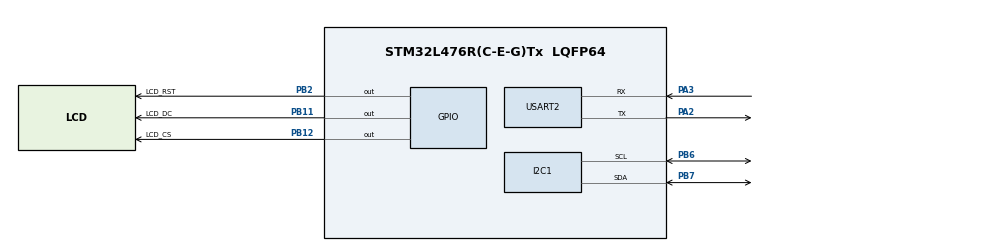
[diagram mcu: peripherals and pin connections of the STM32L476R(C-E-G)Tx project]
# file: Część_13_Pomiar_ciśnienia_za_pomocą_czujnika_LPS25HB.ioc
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I2C1.Timing=0x00100D14
Mcu.Family=STM32L4
Mcu.Name=STM32L476R(C-E-G)Tx
Mcu.Package=LQFP64
NVIC.PriorityGroup=NVIC_PRIORITYGROUP_4
PA2.Mode=Asynchronous
PA2.Signal=USART2_TX
PA3.Mode=Asynchronous
PA3.Signal=USART2_RX
PB11.GPIO_Label=LCD_DC
PB11.Signal=GPIO_Output
PB12.GPIO_Label=LCD_CS
PB12.PinState=GPIO_PIN_SET
PB12.Signal=GPIO_Output
PB2.GPIO_Label=LCD_RST
PB2.Signal=GPIO_Output
PB6.Mode=I2C
PB6.Signal=I2C1_SCL
PB7.Mode=I2C
PB7.Signal=I2C1_SDA
ProjectManager.HeapSize=0x200
ProjectManager.StackSize=0x400
ProjectManager.TargetToolchain=STM32CubeIDE
RCC.HSE_VALUE=8000000
RCC.HSI_VALUE=16000000
RCC.LSE_VALUE=32768
RCC.MSI_VALUE=4000000
RCC.VCOOutputFreq_Value=32000000
USART2.VirtualMode-Asynchronous=VM_ASYNC
board=custom

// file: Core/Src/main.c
/* USER CODE BEGIN Header */
/**
  ******************************************************************************
  * @file           : main.c
  * @brief          : Main program body
  ******************************************************************************
  * @attention
  *
  * Copyright (c) 2026 STMicroelectronics.
  * All rights reserved.
  *
  * This software is licensed under terms that can be found in the LICENSE file
  * in the root directory of this software component.
  * If no LICENSE file comes with this software, it is provided AS-IS.
  *
  ******************************************************************************
  */
/* USER CODE END Header */
#include "main.h"
#include "i2c.h"
#include "usart.h"
#include "gpio.h"

/* USER CODE BEGIN Includes */
#include <stdio.h>
/* USER CODE END Includes */

/* USER CODE BEGIN PD */
#define LPS25HB_ADDR			0xBA
#define LPS25HB_WHO_AM_I 		0x0F
#define LPS25HB_CTRL_REG1 		0x20
#define LPS25HB_CTRL_REG2 		0x21
#define LPS25HB_CTRL_REG3 		0x22
#define LPS25HB_CTRL_REG4 		0x23
#define LPS25HB_PRESS_OUT_XL 	0x28
#define LPS25HB_PRESS_OUT_L 	0x29
#define LPS25HB_PRESS_OUT_H 	0x2A
#define LPS25HB_TEMP_OUT_L 		0x2B
#define LPS25HB_TEMP_OUT_H 		0x2C

#define LPS25HB_CTRL_REG1_PD 	0x80
#define LPS25HB_CTRL_REG1_ODR2 	0x40
#define LPS25HB_CTRL_REG1_ODR1 	0x20
#define LPS25HB_CTRL_REG1_ODR0 	0x10

/* USER CODE END PD */

void SystemClock_Config(void);

/* USER CODE BEGIN 0 */
int __io_putchar(int ch)
{
  if (ch == '\n') {
    __io_putchar('\r');
  }
  HAL_UART_Transmit(&huart2, (uint8_t*)&ch, 1, HAL_MAX_DELAY);
  return 1;
}

void lps_write_reg(uint8_t reg, uint8_t value)
{
	HAL_I2C_Mem_Write(&hi2c1, LPS25HB_ADDR, reg, 1, &value, sizeof(value), HAL_MAX_DELAY);
}
/* USER CODE END 0 */

int main(void)
{

  /* MCU Configuration--------------------------------------------------------*/

  /* Reset of all peripherals, Initializes the Flash interface and the Systick. */
  HAL_Init();

  /* Configure the system clock */
  SystemClock_Config();

  /* Initialize all configured peripherals */
  MX_GPIO_Init();
  MX_USART2_UART_Init();
  MX_I2C1_Init();
  /* USER CODE BEGIN 2 */
  uint8_t lps_read_reg(uint8_t reg)
  {
  	uint8_t value = 0;
  	HAL_I2C_Mem_Read(&hi2c1, LPS25HB_ADDR, reg, 1, &value, sizeof(value), HAL_MAX_DELAY);
  	return value;
  }

  /* USER CODE END 2 */

  /* Infinite loop */
  /* USER CODE BEGIN WHILE */
  printf("Searching...\n");
  uint8_t who_am_i = lps_read_reg(LPS25HB_WHO_AM_I);
  if (who_am_i == 0xBD) {
    printf("Found: LPS25HB\n");
    lps_write_reg(LPS25HB_CTRL_REG1,  0xC0);
    HAL_Delay(100);
    int16_t temp;
    HAL_I2C_Mem_Read(&hi2c1, LPS25HB_ADDR, LPS25HB_TEMP_OUT_L | 0x80, 1, (uint8_t*)&temp, sizeof(temp), HAL_MAX_DELAY);
    printf("T = %.1f*C\n", 42.5f + temp / 480.0f);
    int32_t pressure = 0;
    HAL_I2C_Mem_Read(&hi2c1, LPS25HB_ADDR, LPS25HB_PRESS_OUT_XL | 0x80, 1, (uint8_t*)&pressure, 3, HAL_MAX_DELAY);
    printf("p = %lu hPa\n", pressure / 4096);
  } else {
    printf("Error: (0x%02X)\n", who_am_i);
  }

  while (1)
  {
    /* USER CODE END WHILE */

  }
}

void SystemClock_Config(void)
{
  RCC_OscInitTypeDef RCC_OscInitStruct = {0};
  RCC_ClkInitTypeDef RCC_ClkInitStruct = {0};

  /** Configure the main internal regulator output voltage
  */
  if (HAL_PWREx_ControlVoltageScaling(PWR_REGULATOR_VOLTAGE_SCALE1) != HAL_OK)
  {
    Error_Handler();
  }

  /** Initializes the RCC Oscillators according to the specified parameters
  * in the RCC_OscInitTypeDef structure.
  */
  RCC_OscInitStruct.OscillatorType = RCC_OSCILLATORTYPE_MSI;
  RCC_OscInitStruct.MSIState = RCC_MSI_ON;
  RCC_OscInitStruct.MSICalibrationValue = 0;
  RCC_OscInitStruct.MSIClockRange = RCC_MSIRANGE_6;
  RCC_OscInitStruct.PLL.PLLState = RCC_PLL_NONE;
  if (HAL_RCC_OscConfig(&RCC_OscInitStruct) != HAL_OK)
  {
    Error_Handler();
  }

  /** Initializes the CPU, AHB and APB buses clocks
  */
  RCC_ClkInitStruct.ClockType = RCC_CLOCKTYPE_HCLK|RCC_CLOCKTYPE_SYSCLK
                              |RCC_CLOCKTYPE_PCLK1|RCC_CLOCKTYPE_PCLK2;
  RCC_ClkInitStruct.SYSCLKSource = RCC_SYSCLKSOURCE_MSI;
  RCC_ClkInitStruct.AHBCLKDivider = RCC_SYSCLK_DIV1;
  RCC_ClkInitStruct.APB1CLKDivider = RCC_HCLK_DIV1;
  RCC_ClkInitStruct.APB2CLKDivider = RCC_HCLK_DIV1;

  if (HAL_RCC_ClockConfig(&RCC_ClkInitStruct, FLASH_LATENCY_0) != HAL_OK)
  {
    Error_Handler();
  }
}

void Error_Handler(void)
{
  __disable_irq();
  while (1)
  {
  }
}
